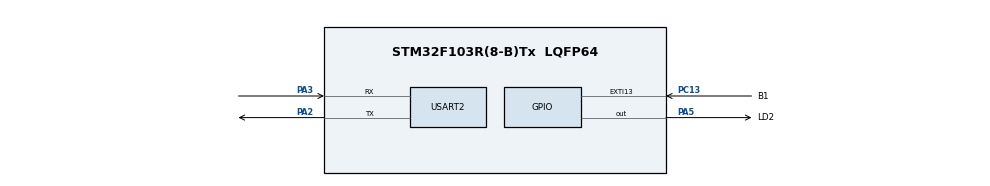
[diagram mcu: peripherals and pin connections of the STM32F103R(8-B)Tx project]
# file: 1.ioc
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Mcu.Family=STM32F1
Mcu.Name=STM32F103R(8-B)Tx
Mcu.Package=LQFP64
NVIC.EXTI15_10_IRQn=true\:0\:0\:false\:false\:true\:true\:true\:true
NVIC.PriorityGroup=NVIC_PRIORITYGROUP_4
NVIC.USART2_IRQn=true\:0\:0\:false\:false\:true\:true\:true\:true
PA13.Mode=Serial_Wire
PA13.Signal=SYS_JTMS-SWDIO
PA14.Mode=Serial_Wire
PA14.Signal=SYS_JTCK-SWCLK
PA2.Mode=Asynchronous
PA2.Signal=USART2_TX
PA3.Mode=Asynchronous
PA3.Signal=USART2_RX
PA5.GPIO_Label=LD2
PA5.Signal=GPIO_Output
PC13-TAMPER-RTC.GPIO_Label=B1
PC13-TAMPER-RTC.Signal=GPXTI13
ProjectManager.HeapSize=0x200
ProjectManager.StackSize=0x400
ProjectManager.TargetToolchain=MDK-ARM V5
RCC.APB1Freq_Value=8000000
RCC.APB2Freq_Value=8000000
USART2.VirtualMode=VM_ASYNC
board=custom

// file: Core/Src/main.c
/* USER CODE BEGIN Header */
/**
  ******************************************************************************
  * @file           : main.c
  * @brief          : Main program body
  ******************************************************************************
  * @attention
  *
  * Copyright (c) 2026 STMicroelectronics.
  * All rights reserved.
  *
  * This software is licensed under terms that can be found in the LICENSE file
  * in the root directory of this software component.
  * If no LICENSE file comes with this software, it is provided AS-IS.
  *
  ******************************************************************************
  */
/* USER CODE END Header */
#include "main.h"

/* USER CODE BEGIN Includes */
#include <string.h>
#include <stdio.h>
/* USER CODE END Includes */

UART_HandleTypeDef huart2;

/* USER CODE BEGIN PV */

char command[10];
uint8_t buffer[2];

/* USER CODE END PV */

void SystemClock_Config(void);
static void MX_GPIO_Init(void);
static void MX_USART2_UART_Init(void);
/* USER CODE BEGIN PFP */
void Print(char *message);
/* USER CODE END PFP */

int main(void)
{

  /* MCU Configuration--------------------------------------------------------*/

  /* Reset of all peripherals, Initializes the Flash interface and the Systick. */
  HAL_Init();

  /* Configure the system clock */
  SystemClock_Config();

  /* Initialize all configured peripherals */
  MX_GPIO_Init();
  MX_USART2_UART_Init();
  /* USER CODE BEGIN 2 */
	Print("System ready.\r\n");

	HAL_UART_Receive_IT(&huart2, buffer, 1);

  /* USER CODE END 2 */

  /* Infinite loop */
  while (1)
  {

  }
}

void SystemClock_Config(void)
{
  RCC_OscInitTypeDef RCC_OscInitStruct = {0};
  RCC_ClkInitTypeDef RCC_ClkInitStruct = {0};

  /** Initializes the RCC Oscillators according to the specified parameters
  * in the RCC_OscInitTypeDef structure.
  */
  RCC_OscInitStruct.OscillatorType = RCC_OSCILLATORTYPE_HSI;
  RCC_OscInitStruct.HSIState = RCC_HSI_ON;
  RCC_OscInitStruct.HSICalibrationValue = RCC_HSICALIBRATION_DEFAULT;
  RCC_OscInitStruct.PLL.PLLState = RCC_PLL_NONE;
  if (HAL_RCC_OscConfig(&RCC_OscInitStruct) != HAL_OK)
  {
    Error_Handler();
  }

  /** Initializes the CPU, AHB and APB buses clocks
  */
  RCC_ClkInitStruct.ClockType = RCC_CLOCKTYPE_HCLK|RCC_CLOCKTYPE_SYSCLK
                              |RCC_CLOCKTYPE_PCLK1|RCC_CLOCKTYPE_PCLK2;
  RCC_ClkInitStruct.SYSCLKSource = RCC_SYSCLKSOURCE_HSI;
  RCC_ClkInitStruct.AHBCLKDivider = RCC_SYSCLK_DIV1;
  RCC_ClkInitStruct.APB1CLKDivider = RCC_HCLK_DIV1;
  RCC_ClkInitStruct.APB2CLKDivider = RCC_HCLK_DIV1;

  if (HAL_RCC_ClockConfig(&RCC_ClkInitStruct, FLASH_LATENCY_0) != HAL_OK)
  {
    Error_Handler();
  }
}

static void MX_USART2_UART_Init(void)
{

  huart2.Instance = USART2;
  huart2.Init.BaudRate = 115200;
  huart2.Init.WordLength = UART_WORDLENGTH_8B;
  huart2.Init.StopBits = UART_STOPBITS_1;
  huart2.Init.Parity = UART_PARITY_NONE;
  huart2.Init.Mode = UART_MODE_TX_RX;
  huart2.Init.HwFlowCtl = UART_HWCONTROL_NONE;
  huart2.Init.OverSampling = UART_OVERSAMPLING_16;
  if (HAL_UART_Init(&huart2) != HAL_OK)
  {
    Error_Handler();
  }

}

static void MX_GPIO_Init(void)
{
  GPIO_InitTypeDef GPIO_InitStruct = {0};

  /* GPIO Ports Clock Enable */
  __HAL_RCC_GPIOC_CLK_ENABLE();
  __HAL_RCC_GPIOA_CLK_ENABLE();

  /*Configure GPIO pin Output Level */
  HAL_GPIO_WritePin(LD2_GPIO_Port, LD2_Pin, GPIO_PIN_RESET);

  /*Configure GPIO pin : B1_Pin */
  GPIO_InitStruct.Pin = B1_Pin;
  GPIO_InitStruct.Mode = GPIO_MODE_IT_RISING;
  GPIO_InitStruct.Pull = GPIO_NOPULL;
  HAL_GPIO_Init(B1_GPIO_Port, &GPIO_InitStruct);

  /*Configure GPIO pin : LD2_Pin */
  GPIO_InitStruct.Pin = LD2_Pin;
  GPIO_InitStruct.Mode = GPIO_MODE_OUTPUT_PP;
  GPIO_InitStruct.Pull = GPIO_NOPULL;
  GPIO_InitStruct.Speed = GPIO_SPEED_FREQ_LOW;
  HAL_GPIO_Init(LD2_GPIO_Port, &GPIO_InitStruct);

  /* EXTI interrupt init*/
  HAL_NVIC_SetPriority(EXTI15_10_IRQn, 0, 0);
  HAL_NVIC_EnableIRQ(EXTI15_10_IRQn);

}

/* USER CODE BEGIN 4 */

void Print(char *message)
{
    HAL_UART_Transmit(&huart2, (uint8_t *)message, strlen(message), HAL_MAX_DELAY);
}

void HAL_UART_RxCpltCallback(UART_HandleTypeDef *huart)
{
    if (huart == &huart2)
    {
				if (buffer[0] == '\n' || buffer[0] == '\r')
        {
            if (strcmp(command, "ON") == 0)
            {
                HAL_GPIO_WritePin(GPIOA, GPIO_PIN_5, GPIO_PIN_SET);
                Print("LED turned on.\n");
                memset(command, 0, sizeof(command));
            }
            else if (strcmp(command, "OFF") == 0)
            {
                HAL_GPIO_WritePin(GPIOA, GPIO_PIN_5, GPIO_PIN_RESET);
                Print("LED turned off.\n");
                memset(command, 0, sizeof(command));
            }
            else
            {
                Print("Incorrect command.\n");
                memset(command, 0, sizeof(command));
            }
        }
        else
        {
            strncat(command, (char *)buffer, 1);
        }

        if (strlen(command) > 5)
        {
            Print("Input is too long.\n");
            memset(command, 0, sizeof(command));
        }

        HAL_UART_Receive_IT(&huart2, buffer, 1);
    }
}

/* USER CODE END 4 */

void Error_Handler(void)
{
  __disable_irq();
  while (1)
  {
  }
}
